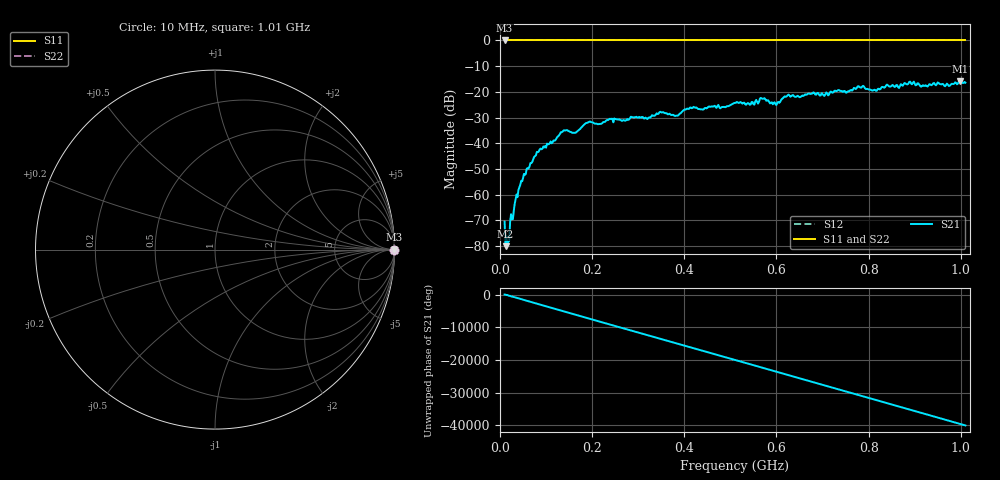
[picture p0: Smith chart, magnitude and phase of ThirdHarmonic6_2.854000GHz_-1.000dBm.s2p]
! 8/17/2025 7:44:35 AM
! C:\ANRITSUVNA\TEMP\TEMP.S2P
! CHANNEL.1
! TR.MEASUREMENT
! RAW.DATA
! RF.CORRECTION.OFF
! AVERAGING.OFF
! IF.BANDWIDTH: 5KHZ
! SWEEPTYPE:  FREQ.SWEEP(Linear)
! Reference Plane Port Info
! PORT:  PORT1  PORT2
! DISTANCE:  0  m  0  m
! TIME:  0  s  0  s
! PHASE.OFFSET:  0  deg.  0  deg.
! LOSS:  0  dB  0  dB
! REF.LOSS:  0  dB  0  dB
! REF.FREQ:  0  Hz  0  Hz
! Power Info
! POWER:  -20  dBm  -20  dBm
! EFF.POWER:  -20  dBm  -20  dBm
! SOURCE.ATTEN:  0  dB  0  dB
! TEST.ATTEN:  0  dB  0  dB
# GHZ S RI R 50.0
! FREQ.GHZ  S11RE  S11IM  S21RE  S21IM  S12RE  S12IM  S22RE  S22IM
!; PortSelection: Port_12
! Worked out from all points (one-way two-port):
!   501 points, 10 MHz to 1.01 GHz, reference 50 ohm
!   highest |S21| = -15.84 dB at 998 MHz (marker M1); lowest = -80.0 dB at 12 MHz (marker M2)
!   lowest |S11| = 0.0 dB at 10 MHz (marker M3)
!   |S11| at or under -10 dB: nowhere
!   |S22| runs from 0.0 to 0.0 dB; largest |S21 - S12| = 1.2
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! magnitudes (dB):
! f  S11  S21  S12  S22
! 10 MHz  0.0  -70.5  0.0  0.0
! 12 MHz  0.0  -80.0  0.0  0.0
! 16 MHz  0.0  -79.8  0.0  0.0
! 26 MHz  0.0  -69.5  0.0  0.0
! 44 MHz  0.0  -56.1  0.0  0.0
! 78 MHz  0.0  -44.7  0.0  0.0
! 136 MHz  0.0  -35.4  0.0  0.0
! 162 MHz  0.0  -35.9  0.0  0.0
! 178 MHz  0.0  -33.6  0.0  0.0
! 194 MHz  0.0  -31.6  0.0  0.0
! 344 MHz  0.0  -28.5  0.0  0.0
! 382 MHz  0.0  -29.2  0.0  0.0
! 416 MHz  0.0  -26.4  0.0  0.0
! 510 MHz  0.0  -24.3  0.0  0.0
! 548 MHz  0.0  -23.9  0.0  0.0
! 570 MHz  0.0  -22.7  0.0  0.0
! 596 MHz  0.0  -24.0  0.0  0.0
! 622 MHz  0.0  -21.8  0.0  0.0
! 678 MHz  0.0  -20.6  0.0  0.0
! 844 MHz  0.0  -17.8  0.0  0.0
! 998 MHz  0.0  -15.8  0.0  0.0
! 1.01 GHz  0.0  -16.4  0.0  0.0
